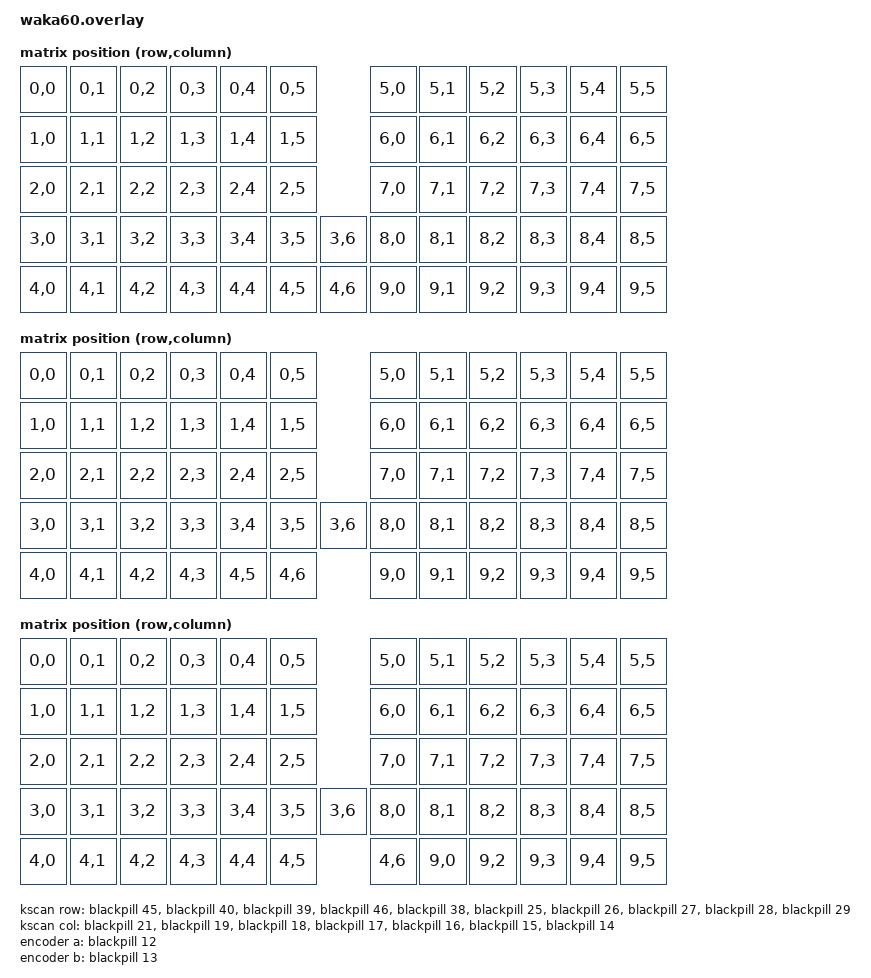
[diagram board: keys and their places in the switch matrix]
/*
 * Copyright (c) 2023 The ZMK Contributors
 *
 * SPDX-License-Identifier: MIT
 */

#include <dt-bindings/zmk/matrix_transform.h>

#include "waka60-layouts.dtsi"

/ {
    chosen {
        zmk,kscan = &kscan;
    };

    kscan: kscan {
        compatible = "zmk,kscan-gpio-matrix";
        wakeup-source;
        diode-direction = "col2row";
        col-gpios
            = <&blackpill 21 GPIO_ACTIVE_HIGH>
            , <&blackpill 19 GPIO_ACTIVE_HIGH>
            , <&blackpill 18 GPIO_ACTIVE_HIGH>
            , <&blackpill 17 GPIO_ACTIVE_HIGH>
            , <&blackpill 16 GPIO_ACTIVE_HIGH>
            , <&blackpill 15 GPIO_ACTIVE_HIGH>
            , <&blackpill 14 GPIO_ACTIVE_HIGH>
            ;
        row-gpios
            = <&blackpill 45 (GPIO_ACTIVE_HIGH | GPIO_PULL_DOWN)>
            , <&blackpill 40 (GPIO_ACTIVE_HIGH | GPIO_PULL_DOWN)>
            , <&blackpill 39 (GPIO_ACTIVE_HIGH | GPIO_PULL_DOWN)>
            , <&blackpill 46 (GPIO_ACTIVE_HIGH | GPIO_PULL_DOWN)>
            , <&blackpill 38 (GPIO_ACTIVE_HIGH | GPIO_PULL_DOWN)>
            , <&blackpill 25 (GPIO_ACTIVE_HIGH | GPIO_PULL_DOWN)>
            , <&blackpill 26 (GPIO_ACTIVE_HIGH | GPIO_PULL_DOWN)>
            , <&blackpill 27 (GPIO_ACTIVE_HIGH | GPIO_PULL_DOWN)>
            , <&blackpill 28 (GPIO_ACTIVE_HIGH | GPIO_PULL_DOWN)>
            , <&blackpill 29 (GPIO_ACTIVE_HIGH | GPIO_PULL_DOWN)>
            ;
    };

    all_1u_transform: keymap_transform_0 {
        compatible = "zmk,matrix-transform";
        columns = <7>;
        rows = <10>;
        map = <
            RC(0,0) RC(0,1) RC(0,2) RC(0,3) RC(0,4) RC(0,5)           RC(5,0) RC(5,1) RC(5,2) RC(5,3) RC(5,4) RC(5,5)
            RC(1,0) RC(1,1) RC(1,2) RC(1,3) RC(1,4) RC(1,5)           RC(6,0) RC(6,1) RC(6,2) RC(6,3) RC(6,4) RC(6,5)
            RC(2,0) RC(2,1) RC(2,2) RC(2,3) RC(2,4) RC(2,5)           RC(7,0) RC(7,1) RC(7,2) RC(7,3) RC(7,4) RC(7,5)
            RC(3,0) RC(3,1) RC(3,2) RC(3,3) RC(3,4) RC(3,5)  RC(3,6)  RC(8,0) RC(8,1) RC(8,2) RC(8,3) RC(8,4) RC(8,5)
             RC(4,0) RC(4,1) RC(4,2) RC(4,3) RC(4,4) RC(4,5) RC(4,6) RC(9,0) RC(9,1) RC(9,2) RC(9,3) RC(9,4) RC(9,5)
        >;
    };

    two_one_one_one_one_one_transform: keymap_transform_1 {
        compatible = "zmk,matrix-transform";
        columns = <7>;
        rows = <10>;
        map = <
            RC(0,0) RC(0,1) RC(0,2) RC(0,3) RC(0,4) RC(0,5)           RC(5,0) RC(5,1) RC(5,2) RC(5,3) RC(5,4) RC(5,5)
            RC(1,0) RC(1,1) RC(1,2) RC(1,3) RC(1,4) RC(1,5)           RC(6,0) RC(6,1) RC(6,2) RC(6,3) RC(6,4) RC(6,5)
            RC(2,0) RC(2,1) RC(2,2) RC(2,3) RC(2,4) RC(2,5)           RC(7,0) RC(7,1) RC(7,2) RC(7,3) RC(7,4) RC(7,5)
            RC(3,0) RC(3,1) RC(3,2) RC(3,3) RC(3,4) RC(3,5)  RC(3,6)  RC(8,0) RC(8,1) RC(8,2) RC(8,3) RC(8,4) RC(8,5)
             RC(4,0) RC(4,1) RC(4,2)     RC(4,3)     RC(4,5) RC(4,6) RC(9,0) RC(9,1) RC(9,2) RC(9,3) RC(9,4) RC(9,5)
        >;
    };

    one_one_one_one_one_two_transform: keymap_transform_2 {
        compatible = "zmk,matrix-transform";
        columns = <7>;
        rows = <10>;
        map = <
            RC(0,0) RC(0,1) RC(0,2) RC(0,3) RC(0,4) RC(0,5)           RC(5,0) RC(5,1) RC(5,2) RC(5,3) RC(5,4) RC(5,5)
            RC(1,0) RC(1,1) RC(1,2) RC(1,3) RC(1,4) RC(1,5)           RC(6,0) RC(6,1) RC(6,2) RC(6,3) RC(6,4) RC(6,5)
            RC(2,0) RC(2,1) RC(2,2) RC(2,3) RC(2,4) RC(2,5)           RC(7,0) RC(7,1) RC(7,2) RC(7,3) RC(7,4) RC(7,5)
            RC(3,0) RC(3,1) RC(3,2) RC(3,3) RC(3,4) RC(3,5)  RC(3,6)  RC(8,0) RC(8,1) RC(8,2) RC(8,3) RC(8,4) RC(8,5)
             RC(4,0) RC(4,1) RC(4,2) RC(4,3) RC(4,4) RC(4,5) RC(4,6) RC(9,0)     RC(9,2)     RC(9,3) RC(9,4) RC(9,5)
        >;
    };

    one_one_one_one_two_one_transform: keymap_transform_3 {
        compatible = "zmk,matrix-transform";
        columns = <7>;
        rows = <10>;
        map = <
            RC(0,0) RC(0,1) RC(0,2) RC(0,3) RC(0,4) RC(0,5)           RC(5,0) RC(5,1) RC(5,2) RC(5,3) RC(5,4) RC(5,5)
            RC(1,0) RC(1,1) RC(1,2) RC(1,3) RC(1,4) RC(1,5)           RC(6,0) RC(6,1) RC(6,2) RC(6,3) RC(6,4) RC(6,5)
            RC(2,0) RC(2,1) RC(2,2) RC(2,3) RC(2,4) RC(2,5)           RC(7,0) RC(7,1) RC(7,2) RC(7,3) RC(7,4) RC(7,5)
            RC(3,0) RC(3,1) RC(3,2) RC(3,3) RC(3,4) RC(3,5)  RC(3,6)  RC(8,0) RC(8,1) RC(8,2) RC(8,3) RC(8,4) RC(8,5)
             RC(4,0) RC(4,1) RC(4,2) RC(4,3) RC(4,4) RC(4,5) RC(4,6)     RC(9,1)     RC(9,2) RC(9,3) RC(9,4) RC(9,5)
        >;
    };

    one_two_one_one_one_one_transform: keymap_transform_4 {
        compatible = "zmk,matrix-transform";
        columns = <7>;
        rows = <10>;
        map = <
            RC(0,0) RC(0,1) RC(0,2) RC(0,3) RC(0,4) RC(0,5)           RC(5,0) RC(5,1) RC(5,2) RC(5,3) RC(5,4) RC(5,5)
            RC(1,0) RC(1,1) RC(1,2) RC(1,3) RC(1,4) RC(1,5)           RC(6,0) RC(6,1) RC(6,2) RC(6,3) RC(6,4) RC(6,5)
            RC(2,0) RC(2,1) RC(2,2) RC(2,3) RC(2,4) RC(2,5)           RC(7,0) RC(7,1) RC(7,2) RC(7,3) RC(7,4) RC(7,5)
            RC(3,0) RC(3,1) RC(3,2) RC(3,3) RC(3,4) RC(3,5)  RC(3,6)  RC(8,0) RC(8,1) RC(8,2) RC(8,3) RC(8,4) RC(8,5)
             RC(4,0) RC(4,1) RC(4,2) RC(4,3)     RC(4,5)     RC(4,6) RC(9,0) RC(9,1) RC(9,2) RC(9,3) RC(9,4) RC(9,5)
        >;
    };

    one_two_one_two_one_transform: keymap_transform_5 {
        compatible = "zmk,matrix-transform";
        columns = <7>;
        rows = <10>;
        map = <
            RC(0,0) RC(0,1) RC(0,2) RC(0,3) RC(0,4) RC(0,5)           RC(5,0) RC(5,1) RC(5,2) RC(5,3) RC(5,4) RC(5,5)
            RC(1,0) RC(1,1) RC(1,2) RC(1,3) RC(1,4) RC(1,5)           RC(6,0) RC(6,1) RC(6,2) RC(6,3) RC(6,4) RC(6,5)
            RC(2,0) RC(2,1) RC(2,2) RC(2,3) RC(2,4) RC(2,5)           RC(7,0) RC(7,1) RC(7,2) RC(7,3) RC(7,4) RC(7,5)
            RC(3,0) RC(3,1) RC(3,2) RC(3,3) RC(3,4) RC(3,5)  RC(3,6)  RC(8,0) RC(8,1) RC(8,2) RC(8,3) RC(8,4) RC(8,5)
             RC(4,0) RC(4,1) RC(4,2) RC(4,3)     RC(4,5)     RC(4,6)     RC(9,1)     RC(9,2) RC(9,3) RC(9,4) RC(9,5)
        >;
    };

    two_one_one_one_two_transform: keymap_transform_6 {
        compatible = "zmk,matrix-transform";
        columns = <7>;
        rows = <10>;
        map = <
            RC(0,0) RC(0,1) RC(0,2) RC(0,3) RC(0,4) RC(0,5)           RC(5,0) RC(5,1) RC(5,2) RC(5,3) RC(5,4) RC(5,5)
            RC(1,0) RC(1,1) RC(1,2) RC(1,3) RC(1,4) RC(1,5)           RC(6,0) RC(6,1) RC(6,2) RC(6,3) RC(6,4) RC(6,5)
            RC(2,0) RC(2,1) RC(2,2) RC(2,3) RC(2,4) RC(2,5)           RC(7,0) RC(7,1) RC(7,2) RC(7,3) RC(7,4) RC(7,5)
            RC(3,0) RC(3,1) RC(3,2) RC(3,3) RC(3,4) RC(3,5)  RC(3,6)  RC(8,0) RC(8,1) RC(8,2) RC(8,3) RC(8,4) RC(8,5)
             RC(4,0) RC(4,1) RC(4,2)     RC(4,3)     RC(4,5) RC(4,6) RC(9,0)     RC(9,2)     RC(9,3) RC(9,4) RC(9,5)
        >;
    };

    one_one_three_two_transform: keymap_transform_7 {
        compatible = "zmk,matrix-transform";
        columns = <7>;
        rows = <10>;
        map = <
            RC(0,0) RC(0,1) RC(0,2) RC(0,3) RC(0,4) RC(0,5)           RC(5,0) RC(5,1) RC(5,2) RC(5,3) RC(5,4) RC(5,5)
            RC(1,0) RC(1,1) RC(1,2) RC(1,3) RC(1,4) RC(1,5)           RC(6,0) RC(6,1) RC(6,2) RC(6,3) RC(6,4) RC(6,5)
            RC(2,0) RC(2,1) RC(2,2) RC(2,3) RC(2,4) RC(2,5)           RC(7,0) RC(7,1) RC(7,2) RC(7,3) RC(7,4) RC(7,5)
            RC(3,0) RC(3,1) RC(3,2) RC(3,3) RC(3,4) RC(3,5)  RC(3,6)  RC(8,0) RC(8,1) RC(8,2) RC(8,3) RC(8,4) RC(8,5)
             RC(4,0) RC(4,1) RC(4,2) RC(4,3) RC(4,4)         RC(4,6)             RC(9,2)     RC(9,3) RC(9,4) RC(9,5)
        >;
    };

    two_three_one_one_transform: keymap_transform_8 {
        compatible = "zmk,matrix-transform";
        columns = <7>;
        rows = <10>;
        map = <
            RC(0,0) RC(0,1) RC(0,2) RC(0,3) RC(0,4) RC(0,5)           RC(5,0) RC(5,1) RC(5,2) RC(5,3) RC(5,4) RC(5,5)
            RC(1,0) RC(1,1) RC(1,2) RC(1,3) RC(1,4) RC(1,5)           RC(6,0) RC(6,1) RC(6,2) RC(6,3) RC(6,4) RC(6,5)
            RC(2,0) RC(2,1) RC(2,2) RC(2,3) RC(2,4) RC(2,5)           RC(7,0) RC(7,1) RC(7,2) RC(7,3) RC(7,4) RC(7,5)
            RC(3,0) RC(3,1) RC(3,2) RC(3,3) RC(3,4) RC(3,5)  RC(3,6)  RC(8,0) RC(8,1) RC(8,2) RC(8,3) RC(8,4) RC(8,5)
             RC(4,0) RC(4,1) RC(4,2)     RC(4,3)             RC(4,6)         RC(9,1) RC(9,2) RC(9,3) RC(9,4) RC(9,5)
        >;
    };

    one_one_three_one_one_transform: keymap_transform_9 {
        compatible = "zmk,matrix-transform";
        columns = <7>;
        rows = <10>;
        map = <
            RC(0,0) RC(0,1) RC(0,2) RC(0,3) RC(0,4) RC(0,5)           RC(5,0) RC(5,1) RC(5,2) RC(5,3) RC(5,4) RC(5,5)
            RC(1,0) RC(1,1) RC(1,2) RC(1,3) RC(1,4) RC(1,5)           RC(6,0) RC(6,1) RC(6,2) RC(6,3) RC(6,4) RC(6,5)
            RC(2,0) RC(2,1) RC(2,2) RC(2,3) RC(2,4) RC(2,5)           RC(7,0) RC(7,1) RC(7,2) RC(7,3) RC(7,4) RC(7,5)
            RC(3,0) RC(3,1) RC(3,2) RC(3,3) RC(3,4) RC(3,5)  RC(3,6)  RC(8,0) RC(8,1) RC(8,2) RC(8,3) RC(8,4) RC(8,5)
             RC(4,0) RC(4,1) RC(4,2) RC(4,3) RC(4,4)         RC(4,6)         RC(9,1) RC(9,2) RC(9,3) RC(9,4) RC(9,5)
        >;
    };

    two_three_two_transform: keymap_transform_10 {
        compatible = "zmk,matrix-transform";
        columns = <7>;
        rows = <10>;
        map = <
            RC(0,0) RC(0,1) RC(0,2) RC(0,3) RC(0,4) RC(0,5)           RC(5,0) RC(5,1) RC(5,2) RC(5,3) RC(5,4) RC(5,5)
            RC(1,0) RC(1,1) RC(1,2) RC(1,3) RC(1,4) RC(1,5)           RC(6,0) RC(6,1) RC(6,2) RC(6,3) RC(6,4) RC(6,5)
            RC(2,0) RC(2,1) RC(2,2) RC(2,3) RC(2,4) RC(2,5)           RC(7,0) RC(7,1) RC(7,2) RC(7,3) RC(7,4) RC(7,5)
            RC(3,0) RC(3,1) RC(3,2) RC(3,3) RC(3,4) RC(3,5)  RC(3,6)  RC(8,0) RC(8,1) RC(8,2) RC(8,3) RC(8,4) RC(8,5)
             RC(4,0) RC(4,1) RC(4,2)    RC(4,3)              RC(4,6)             RC(9,2)     RC(9,3) RC(9,4) RC(9,5)
        >;
    };

    one_one_one_one_three_transform: keymap_transform_11 {
        compatible = "zmk,matrix-transform";
        columns = <7>;
        rows = <10>;
        map = <
            RC(0,0) RC(0,1) RC(0,2) RC(0,3) RC(0,4) RC(0,5)           RC(5,0) RC(5,1) RC(5,2) RC(5,3) RC(5,4) RC(5,5)
            RC(1,0) RC(1,1) RC(1,2) RC(1,3) RC(1,4) RC(1,5)           RC(6,0) RC(6,1) RC(6,2) RC(6,3) RC(6,4) RC(6,5)
            RC(2,0) RC(2,1) RC(2,2) RC(2,3) RC(2,4) RC(2,5)           RC(7,0) RC(7,1) RC(7,2) RC(7,3) RC(7,4) RC(7,5)
            RC(3,0) RC(3,1) RC(3,2) RC(3,3) RC(3,4) RC(3,5)  RC(3,6)  RC(8,0) RC(8,1) RC(8,2) RC(8,3) RC(8,4) RC(8,5)
             RC(4,0) RC(4,1) RC(4,2) RC(4,3) RC(4,4) RC(4,5) RC(4,6)         RC(9,1)         RC(9,3) RC(9,4) RC(9,5)
        >;
    };

    one_two_one_three_transform: keymap_transform_12 {
        compatible = "zmk,matrix-transform";
        columns = <7>;
        rows = <10>;
        map = <
            RC(0,0) RC(0,1) RC(0,2) RC(0,3) RC(0,4) RC(0,5)           RC(5,0) RC(5,1) RC(5,2) RC(5,3) RC(5,4) RC(5,5)
            RC(1,0) RC(1,1) RC(1,2) RC(1,3) RC(1,4) RC(1,5)           RC(6,0) RC(6,1) RC(6,2) RC(6,3) RC(6,4) RC(6,5)
            RC(2,0) RC(2,1) RC(2,2) RC(2,3) RC(2,4) RC(2,5)           RC(7,0) RC(7,1) RC(7,2) RC(7,3) RC(7,4) RC(7,5)
            RC(3,0) RC(3,1) RC(3,2) RC(3,3) RC(3,4) RC(3,5)  RC(3,6)  RC(8,0) RC(8,1) RC(8,2) RC(8,3) RC(8,4) RC(8,5)
             RC(4,0) RC(4,1) RC(4,2) RC(4,3)     RC(4,5)     RC(4,6)         RC(9,1)         RC(9,3) RC(9,4) RC(9,5)
        >;
    };

    two_one_one_three_transform: keymap_transform_13 {
        compatible = "zmk,matrix-transform";
        columns = <7>;
        rows = <10>;
        map = <
            RC(0,0) RC(0,1) RC(0,2) RC(0,3) RC(0,4) RC(0,5)           RC(5,0) RC(5,1) RC(5,2) RC(5,3) RC(5,4) RC(5,5)
            RC(1,0) RC(1,1) RC(1,2) RC(1,3) RC(1,4) RC(1,5)           RC(6,0) RC(6,1) RC(6,2) RC(6,3) RC(6,4) RC(6,5)
            RC(2,0) RC(2,1) RC(2,2) RC(2,3) RC(2,4) RC(2,5)           RC(7,0) RC(7,1) RC(7,2) RC(7,3) RC(7,4) RC(7,5)
            RC(3,0) RC(3,1) RC(3,2) RC(3,3) RC(3,4) RC(3,5)  RC(3,6)  RC(8,0) RC(8,1) RC(8,2) RC(8,3) RC(8,4) RC(8,5)
             RC(4,0) RC(4,1) RC(4,2)     RC(4,3)     RC(4,5) RC(4,6)         RC(9,1)         RC(9,3) RC(9,4) RC(9,5)
        >;
    };

    three_one_one_one_one_transform: keymap_transform_14 {
        compatible = "zmk,matrix-transform";
        columns = <7>;
        rows = <10>;
        map = <
            RC(0,0) RC(0,1) RC(0,2) RC(0,3) RC(0,4) RC(0,5)           RC(5,0) RC(5,1) RC(5,2) RC(5,3) RC(5,4) RC(5,5)
            RC(1,0) RC(1,1) RC(1,2) RC(1,3) RC(1,4) RC(1,5)           RC(6,0) RC(6,1) RC(6,2) RC(6,3) RC(6,4) RC(6,5)
            RC(2,0) RC(2,1) RC(2,2) RC(2,3) RC(2,4) RC(2,5)           RC(7,0) RC(7,1) RC(7,2) RC(7,3) RC(7,4) RC(7,5)
            RC(3,0) RC(3,1) RC(3,2) RC(3,3) RC(3,4) RC(3,5)  RC(3,6)  RC(8,0) RC(8,1) RC(8,2) RC(8,3) RC(8,4) RC(8,5)
             RC(4,0) RC(4,1) RC(4,2)         RC(4,4)         RC(4,6) RC(9,0) RC(9,1) RC(9,2) RC(9,3) RC(9,4) RC(9,5)
        >;
    };

    three_one_two_one_transform: keymap_transform_15 {
        compatible = "zmk,matrix-transform";
        columns = <7>;
        rows = <10>;
        map = <
            RC(0,0) RC(0,1) RC(0,2) RC(0,3) RC(0,4) RC(0,5)           RC(5,0) RC(5,1) RC(5,2) RC(5,3) RC(5,4) RC(5,5)
            RC(1,0) RC(1,1) RC(1,2) RC(1,3) RC(1,4) RC(1,5)           RC(6,0) RC(6,1) RC(6,2) RC(6,3) RC(6,4) RC(6,5)
            RC(2,0) RC(2,1) RC(2,2) RC(2,3) RC(2,4) RC(2,5)           RC(7,0) RC(7,1) RC(7,2) RC(7,3) RC(7,4) RC(7,5)
            RC(3,0) RC(3,1) RC(3,2) RC(3,3) RC(3,4) RC(3,5)  RC(3,6)  RC(8,0) RC(8,1) RC(8,2) RC(8,3) RC(8,4) RC(8,5)
             RC(4,0) RC(4,1) RC(4,2)         RC(4,4)         RC(4,6)     RC(9,1)     RC(9,2) RC(9,3) RC(9,4) RC(9,5)
        >;
    };

    three_one_one_two_transform: keymap_transform_16 {
        compatible = "zmk,matrix-transform";
        columns = <7>;
        rows = <10>;
        map = <
            RC(0,0) RC(0,1) RC(0,2) RC(0,3) RC(0,4) RC(0,5)           RC(5,0) RC(5,1) RC(5,2) RC(5,3) RC(5,4) RC(5,5)
            RC(1,0) RC(1,1) RC(1,2) RC(1,3) RC(1,4) RC(1,5)           RC(6,0) RC(6,1) RC(6,2) RC(6,3) RC(6,4) RC(6,5)
            RC(2,0) RC(2,1) RC(2,2) RC(2,3) RC(2,4) RC(2,5)           RC(7,0) RC(7,1) RC(7,2) RC(7,3) RC(7,4) RC(7,5)
            RC(3,0) RC(3,1) RC(3,2) RC(3,3) RC(3,4) RC(3,5)  RC(3,6)  RC(8,0) RC(8,1) RC(8,2) RC(8,3) RC(8,4) RC(8,5)
             RC(4,0) RC(4,1) RC(4,2)         RC(4,4)         RC(4,6) RC(9,0)         RC(9,2) RC(9,3) RC(9,4) RC(9,5)
        >;
    };

    three_one_three_transform: keymap_transform_17 {
        compatible = "zmk,matrix-transform";
        columns = <7>;
        rows = <10>;
        map = <
            RC(0,0) RC(0,1) RC(0,2) RC(0,3) RC(0,4) RC(0,5)           RC(5,0) RC(5,1) RC(5,2) RC(5,3) RC(5,4) RC(5,5)
            RC(1,0) RC(1,1) RC(1,2) RC(1,3) RC(1,4) RC(1,5)           RC(6,0) RC(6,1) RC(6,2) RC(6,3) RC(6,4) RC(6,5)
            RC(2,0) RC(2,1) RC(2,2) RC(2,3) RC(2,4) RC(2,5)           RC(7,0) RC(7,1) RC(7,2) RC(7,3) RC(7,4) RC(7,5)
            RC(3,0) RC(3,1) RC(3,2) RC(3,3) RC(3,4) RC(3,5)  RC(3,6)  RC(8,0) RC(8,1) RC(8,2) RC(8,3) RC(8,4) RC(8,5)
             RC(4,0) RC(4,1) RC(4,2)        RC(4,4)          RC(4,6)          RC(9,1)        RC(9,3) RC(9,4) RC(9,5)
        >;
    };

    full_space_transform: keymap_transform_18 {
        compatible = "zmk,matrix-transform";
        columns = <7>;
        rows = <10>;
        map = <
            RC(0,0) RC(0,1) RC(0,2) RC(0,3) RC(0,4) RC(0,5)           RC(5,0) RC(5,1) RC(5,2) RC(5,3) RC(5,4) RC(5,5)
            RC(1,0) RC(1,1) RC(1,2) RC(1,3) RC(1,4) RC(1,5)           RC(6,0) RC(6,1) RC(6,2) RC(6,3) RC(6,4) RC(6,5)
            RC(2,0) RC(2,1) RC(2,2) RC(2,3) RC(2,4) RC(2,5)           RC(7,0) RC(7,1) RC(7,2) RC(7,3) RC(7,4) RC(7,5)
            RC(3,0) RC(3,1) RC(3,2) RC(3,3) RC(3,4) RC(3,5)  RC(3,6)  RC(8,0) RC(8,1) RC(8,2) RC(8,3) RC(8,4) RC(8,5)
             RC(4,0) RC(4,1) RC(4,2)                         RC(4,6)                         RC(9,3) RC(9,4) RC(9,5)
        >;
    };

    encoder: encoder {
        compatible = "alps,ec11";
        a-gpios = <&blackpill 12 (GPIO_ACTIVE_LOW | GPIO_PULL_UP)>;
        b-gpios = <&blackpill 13 (GPIO_ACTIVE_LOW | GPIO_PULL_UP)>;
        steps = <80>;
        status = "disabled";
    };

    sensors: sensors {
        compatible = "zmk,keymap-sensors";
        sensors = <&encoder>;
        triggers-per-rotation = <20>;
    };

    /* Speaker pin is <&blackpill 41> */
};

/* EEPROM IC, WIP I guess? */
&i2c1 {
    status = "disabled";
};
